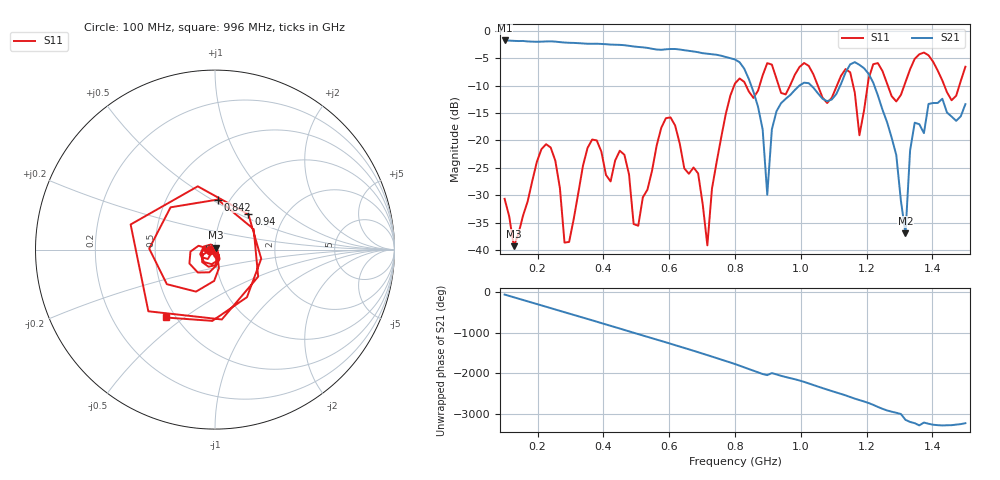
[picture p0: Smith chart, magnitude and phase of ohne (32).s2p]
! NanoVNA-App
! Date: 2025-09-26 09:55:38
! Start: 100MHz Stop: 1,5GHz Points: 101
! S-Parameter data: F S11 S21 S12 S22
# Hz S RI R 50
!  Frequency  S11_Real  S11_Imag  S21_Real  S21_Imag  S12_Real  S12_Imag  S22_Real  S22_Imag
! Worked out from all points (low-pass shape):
!   101 points, 100 MHz to 1.5 GHz, reference 50 ohm
!   highest |S21| = -1.79 dB at 100 MHz (marker M1); lowest = -36.9 dB at 1.318 GHz (marker M2)
!   |S21| within 3 dB of the highest: start of sweep to 771.1 MHz
!   lowest |S11| = -39.3 dB at 128 MHz (marker M3), VSWR 1.02, Z = 50.3 + j1.06 ohm
!   |S11| at or under -10 dB: start of sweep to 797.6 MHz; 833.4 MHz to 874.7 MHz (41.32 MHz wide, 4.84 % of centre); 1.052 GHz to 1.11 GHz (58.1 MHz wide, 5.38 % of centre)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
!   S12 and S22 are empty: the file has one direction only
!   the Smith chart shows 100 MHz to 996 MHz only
!   S11 on the Smith chart (normalised r, x): 100 MHz: 0.94, -0.01; 842 MHz: 0.88, +0.53; 940 MHz: 1.32, +0.56; 996 MHz: 0.44, -0.43
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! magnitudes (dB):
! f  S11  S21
! 100 MHz  -30.6  -1.8
! 128 MHz  -39.3  -1.9
! 212 MHz  -21.6  -2.0
! 282 MHz  -38.6  -2.2
! 338 MHz  -24.6  -2.3
! 464 MHz  -22.6  -2.7
! 506 MHz  -35.5  -3.0
! 576 MHz  -17.7  -3.5
! 716 MHz  -39.1  -4.2
! 800 MHz  -9.6  -5.3
! 842 MHz  -11.1  -8.8
! 898 MHz  -5.9  -29.9
! 940 MHz  -11.3  -13.2
! 996 MHz  -6.6  -10.0
! 1.038 GHz  -7.9  -10.4
! 1.15 GHz  -7.6  -6.1
! 1.178 GHz  -19.1  -6.2
! 1.22 GHz  -6.1  -9.5
! 1.276 GHz  -11.9  -19.5
! 1.318 GHz  -9.4  -36.9
! 1.346 GHz  -5.1  -16.8
! 1.5 GHz  -6.6  -13.4
